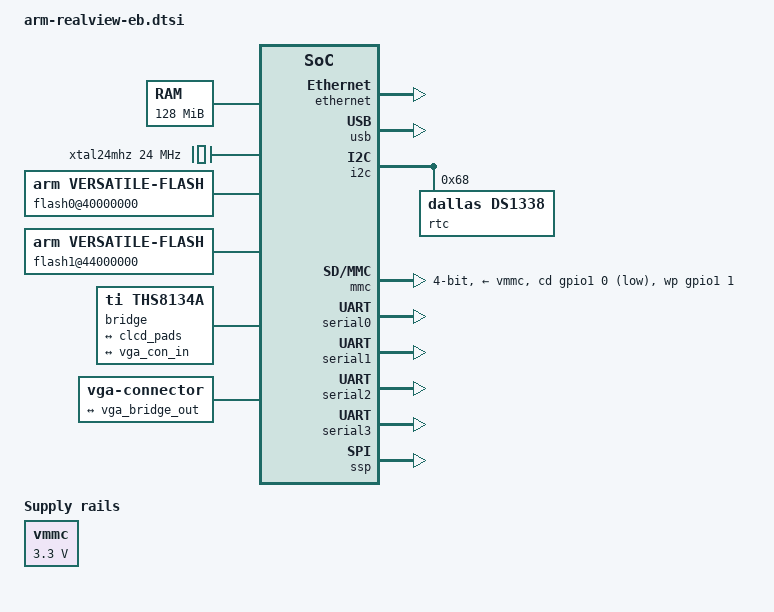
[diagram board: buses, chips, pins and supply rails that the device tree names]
/*
 * Copyright 2016 Linaro Ltd
 *
 * Permission is hereby granted, free of charge, to any person obtaining a copy
 * of this software and associated documentation files (the "Software"), to deal
 * in the Software without restriction, including without limitation the rights
 * to use, copy, modify, merge, publish, distribute, sublicense, and/or sell
 * copies of the Software, and to permit persons to whom the Software is
 * furnished to do so, subject to the following conditions:
 *
 * The above copyright notice and this permission notice shall be included in
 * all copies or substantial portions of the Software.
 *
 * THE SOFTWARE IS PROVIDED "AS IS", WITHOUT WARRANTY OF ANY KIND, EXPRESS OR
 * IMPLIED, INCLUDING BUT NOT LIMITED TO THE WARRANTIES OF MERCHANTABILITY,
 * FITNESS FOR A PARTICULAR PURPOSE AND NONINFRINGEMENT. IN NO EVENT SHALL
 * THE AUTHORS OR COPYRIGHT HOLDERS BE LIABLE FOR ANY CLAIM, DAMAGES OR OTHER
 * LIABILITY, WHETHER IN AN ACTION OF CONTRACT, TORT OR OTHERWISE, ARISING FROM,
 * OUT OF OR IN CONNECTION WITH THE SOFTWARE OR THE USE OR OTHER DEALINGS IN
 * THE SOFTWARE.
 */

#include <dt-bindings/interrupt-controller/irq.h>
#include <dt-bindings/gpio/gpio.h>

/ {
	#address-cells = <1>;
	#size-cells = <1>;
	compatible = "arm,realview-eb";

	chosen { };

	aliases {
		serial0 = &serial0;
		serial1 = &serial1;
		serial2 = &serial2;
		serial3 = &serial3;
		i2c0 = &i2c;
	};

	memory {
		device_type = "memory";
		/* 128 MiB memory @ 0x0 */
		reg = <0x00000000 0x08000000>;
	};

	/* The voltage to the MMC card is hardwired at 3.3V */
	vmmc: fixedregulator@0 {
		compatible = "regulator-fixed";
		regulator-name = "vmmc";
		regulator-min-microvolt = <3300000>;
		regulator-max-microvolt = <3300000>;
		regulator-boot-on;
        };

	xtal24mhz: xtal24mhz@24M {
		#clock-cells = <0>;
		compatible = "fixed-clock";
		clock-frequency = <24000000>;
	};

	timclk: timclk@1M {
		#clock-cells = <0>;
		compatible = "fixed-factor-clock";
		clock-div = <24>;
		clock-mult = <1>;
		clocks = <&xtal24mhz>;
	};

	mclk: mclk@24M {
		#clock-cells = <0>;
		compatible = "fixed-factor-clock";
		clock-div = <1>;
		clock-mult = <1>;
		clocks = <&xtal24mhz>;
	};

	kmiclk: kmiclk@24M {
		#clock-cells = <0>;
		compatible = "fixed-factor-clock";
		clock-div = <1>;
		clock-mult = <1>;
		clocks = <&xtal24mhz>;
	};

	sspclk: sspclk@24M {
		#clock-cells = <0>;
		compatible = "fixed-factor-clock";
		clock-div = <1>;
		clock-mult = <1>;
		clocks = <&xtal24mhz>;
	};

	uartclk: uartclk@24M {
		#clock-cells = <0>;
		compatible = "fixed-factor-clock";
		clock-div = <1>;
		clock-mult = <1>;
		clocks = <&xtal24mhz>;
	};

	wdogclk: wdogclk@24M {
		#clock-cells = <0>;
		compatible = "fixed-factor-clock";
		clock-div = <1>;
		clock-mult = <1>;
		clocks = <&xtal24mhz>;
	};

	/* FIXME: this actually hangs off the PLL clocks */
	pclk: pclk@0 {
		#clock-cells = <0>;
		compatible = "fixed-clock";
		clock-frequency = <0>;
	};

	flash0@40000000 {
		/* 2 * 32MiB NOR Flash memory */
		compatible = "arm,versatile-flash", "cfi-flash";
		reg = <0x40000000 0x04000000>;
		bank-width = <4>;
		partitions {
			compatible = "arm,arm-firmware-suite";
		};
	};

	flash1@44000000 {
		/* 2 * 32MiB NOR Flash memory */
		compatible = "arm,versatile-flash", "cfi-flash";
		reg = <0x44000000 0x04000000>;
		bank-width = <4>;
		partitions {
			compatible = "arm,arm-firmware-suite";
		};
	};

	/* SMSC LAN91C111 ethernet with PHY and EEPROM */
	ethernet: ethernet@4e000000 {
		compatible = "smsc,lan91c111";
		reg = <0x4e000000 0x10000>;
		/*
		 * This means the adapter can be accessed with 8, 16 or
		 * 32 bit reads/writes.
		 */
		reg-io-width = <7>;
	};

	usb: usb@4f000000 {
		compatible = "nxp,usb-isp1761";
		reg = <0x4f000000 0x20000>;
		port1-otg;
	};

	bridge {
		compatible = "ti,ths8134a", "ti,ths8134";
		#address-cells = <1>;
		#size-cells = <0>;

		ports {
			#address-cells = <1>;
			#size-cells = <0>;

			port@0 {
				reg = <0>;

				vga_bridge_in: endpoint {
					remote-endpoint = <&clcd_pads>;
				};
			};

			port@1 {
				reg = <1>;

				vga_bridge_out: endpoint {
					remote-endpoint = <&vga_con_in>;
				};
			};
		};
	};

	vga {
		compatible = "vga-connector";

		port {
			vga_con_in: endpoint {
				remote-endpoint = <&vga_bridge_out>;
			};
		};
	};

	/* These peripherals are inside the FPGA */
	fpga {
		#address-cells = <1>;
		#size-cells = <1>;
		compatible = "simple-bus";
		ranges;

		syscon: syscon@10000000 {
			compatible = "arm,realview-eb-syscon", "syscon", "simple-mfd";
			reg = <0x10000000 0x1000>;

			led@08.0 {
				compatible = "register-bit-led";
				offset = <0x08>;
				mask = <0x01>;
				label = "versatile:0";
				linux,default-trigger = "heartbeat";
				default-state = "on";
			};
			led@08.1 {
				compatible = "register-bit-led";
				offset = <0x08>;
				mask = <0x02>;
				label = "versatile:1";
				linux,default-trigger = "mmc0";
				default-state = "off";
			};
			led@08.2 {
				compatible = "register-bit-led";
				offset = <0x08>;
				mask = <0x04>;
				label = "versatile:2";
				linux,default-trigger = "cpu0";
				default-state = "off";
			};
			led@08.3 {
				compatible = "register-bit-led";
				offset = <0x08>;
				mask = <0x08>;
				label = "versatile:3";
				default-state = "off";
			};
			led@08.4 {
				compatible = "register-bit-led";
				offset = <0x08>;
				mask = <0x10>;
				label = "versatile:4";
				default-state = "off";
			};
			led@08.5 {
				compatible = "register-bit-led";
				offset = <0x08>;
				mask = <0x20>;
				label = "versatile:5";
				default-state = "off";
			};
			led@08.6 {
				compatible = "register-bit-led";
				offset = <0x08>;
				mask = <0x40>;
				label = "versatile:6";
				default-state = "off";
			};
			led@08.7 {
				compatible = "register-bit-led";
				offset = <0x08>;
				mask = <0x80>;
				label = "versatile:7";
				default-state = "off";
			};
			oscclk0: osc0@0c {
				compatible = "arm,syscon-icst307";
				#clock-cells = <0>;
				lock-offset = <0x20>;
				vco-offset = <0x0C>;
				clocks = <&xtal24mhz>;
			};
			oscclk1: osc1@10 {
				compatible = "arm,syscon-icst307";
				#clock-cells = <0>;
				lock-offset = <0x20>;
				vco-offset = <0x10>;
				clocks = <&xtal24mhz>;
			};
			oscclk2: osc2@14 {
				compatible = "arm,syscon-icst307";
				#clock-cells = <0>;
				lock-offset = <0x20>;
				vco-offset = <0x14>;
				clocks = <&xtal24mhz>;
			};
			oscclk3: osc3@18 {
				compatible = "arm,syscon-icst307";
				#clock-cells = <0>;
				lock-offset = <0x20>;
				vco-offset = <0x18>;
				clocks = <&xtal24mhz>;
			};
			oscclk4: osc4@1c {
				compatible = "arm,syscon-icst307";
				#clock-cells = <0>;
				lock-offset = <0x20>;
				vco-offset = <0x1c>;
				clocks = <&xtal24mhz>;
			};
		};

		i2c: i2c@10002000 {
			#address-cells = <1>;
			#size-cells = <0>;
			compatible = "arm,versatile-i2c";
			reg = <0x10002000 0x1000>;

			rtc@68 {
				compatible = "dallas,ds1338";
				reg = <0x68>;
			};
		};

		aaci: aaci@10004000 {
			compatible = "arm,pl041", "arm,primecell";
			reg = <0x10004000 0x1000>;
			clocks = <&pclk>;
			clock-names = "apb_pclk";
		};

		mmc: mmcsd@10005000 {
			compatible = "arm,pl18x", "arm,primecell";
			reg = <0x10005000 0x1000>;

			/* Due to frequent FIFO overruns, use just 500 kHz */
			max-frequency = <500000>;
			bus-width = <4>;
			cap-sd-highspeed;
			cap-mmc-highspeed;
			clocks = <&mclk>, <&pclk>;
			clock-names = "mclk", "apb_pclk";
			vmmc-supply = <&vmmc>;
			cd-gpios = <&gpio1 0 GPIO_ACTIVE_LOW>;
			wp-gpios = <&gpio1 1 GPIO_ACTIVE_HIGH>;
		};

		kmi0: kmi@10006000 {
			compatible = "arm,pl050", "arm,primecell";
			reg = <0x10006000 0x1000>;
			clocks = <&kmiclk>, <&pclk>;
			clock-names = "KMIREFCLK", "apb_pclk";
		};

		kmi1: kmi@10007000 {
			compatible = "arm,pl050", "arm,primecell";
			reg = <0x10007000 0x1000>;
			clocks = <&kmiclk>, <&pclk>;
			clock-names = "KMIREFCLK", "apb_pclk";
		};

		charlcd: fpga_charlcd: charlcd@10008000 {
			compatible = "arm,versatile-lcd";
			reg = <0x10008000 0x1000>;
			clocks = <&pclk>;
			clock-names = "apb_pclk";
		};

		serial0: serial@10009000 {
			compatible = "arm,pl011", "arm,primecell";
			reg = <0x10009000 0x1000>;
			clocks = <&uartclk>, <&pclk>;
			clock-names = "uartclk", "apb_pclk";
		};

		serial1: serial@1000a000 {
			compatible = "arm,pl011", "arm,primecell";
			reg = <0x1000a000 0x1000>;
			clocks = <&uartclk>, <&pclk>;
			clock-names = "uartclk", "apb_pclk";
		};

		serial2: serial@1000b000 {
			compatible = "arm,pl011", "arm,primecell";
			reg = <0x1000b000 0x1000>;
			clocks = <&uartclk>, <&pclk>;
			clock-names = "uartclk", "apb_pclk";
		};

		serial3: serial@1000c000 {
			compatible = "arm,pl011", "arm,primecell";
			reg = <0x1000c000 0x1000>;
			clocks = <&uartclk>, <&pclk>;
			clock-names = "uartclk", "apb_pclk";
		};

		ssp: spi@1000d000 {
			compatible = "arm,pl022", "arm,primecell";
			reg = <0x1000d000 0x1000>;
			clocks = <&sspclk>, <&pclk>;
			clock-names = "SSPCLK", "apb_pclk";
		};

		wdog: watchdog@10010000 {
			compatible = "arm,sp805", "arm,primecell";
			reg = <0x10010000 0x1000>;
			clocks = <&wdogclk>, <&pclk>;
			clock-names = "wdog_clk", "apb_pclk";
			status = "disabled";
		};

		timer01: timer@10011000 {
			compatible = "arm,sp804", "arm,primecell";
			reg = <0x10011000 0x1000>;
			clocks = <&timclk>, <&timclk>, <&pclk>;
			clock-names = "timer1", "timer2", "apb_pclk";
		};

		timer23: timer@10012000 {
			compatible = "arm,sp804", "arm,primecell";
			reg = <0x10012000 0x1000>;
			clocks = <&timclk>, <&timclk>, <&pclk>;
			clock-names = "timer1", "timer2", "apb_pclk";
		};

		gpio0: gpio@10013000 {
			compatible = "arm,pl061", "arm,primecell";
			reg = <0x10013000 0x1000>;
			gpio-controller;
			#gpio-cells = <2>;
			interrupt-controller;
			#interrupt-cells = <2>;
			clocks = <&pclk>;
			clock-names = "apb_pclk";
		};

		gpio1: gpio@10014000 {
			compatible = "arm,pl061", "arm,primecell";
			reg = <0x10014000 0x1000>;
			gpio-controller;
			#gpio-cells = <2>;
			interrupt-controller;
			#interrupt-cells = <2>;
			clocks = <&pclk>;
			clock-names = "apb_pclk";
		};

		gpio2: gpio@10015000 {
			compatible = "arm,pl061", "arm,primecell";
			reg = <0x10015000 0x1000>;
			gpio-controller;
			#gpio-cells = <2>;
			interrupt-controller;
			#interrupt-cells = <2>;
			clocks = <&pclk>;
			clock-names = "apb_pclk";
		};

		rtc: rtc@10017000 {
			compatible = "arm,pl031", "arm,primecell";
			reg = <0x10017000 0x1000>;
			clocks = <&pclk>;
			clock-names = "apb_pclk";
		};

		clcd: clcd@10020000 {
			compatible = "arm,pl111", "arm,primecell";
			reg = <0x10020000 0x1000>;
			interrupt-names = "combined";
			clocks = <&oscclk0>, <&pclk>;
			clock-names = "clcdclk", "apb_pclk";
			/* 1024x768 16bpp @65MHz works fine */
			max-memory-bandwidth = <95000000>;

			port {
				clcd_pads: endpoint {
					remote-endpoint = <&vga_bridge_in>;
					arm,pl11x,tft-r0g0b0-pads = <0 8 16>;
				};
			};
		};
	};
};
